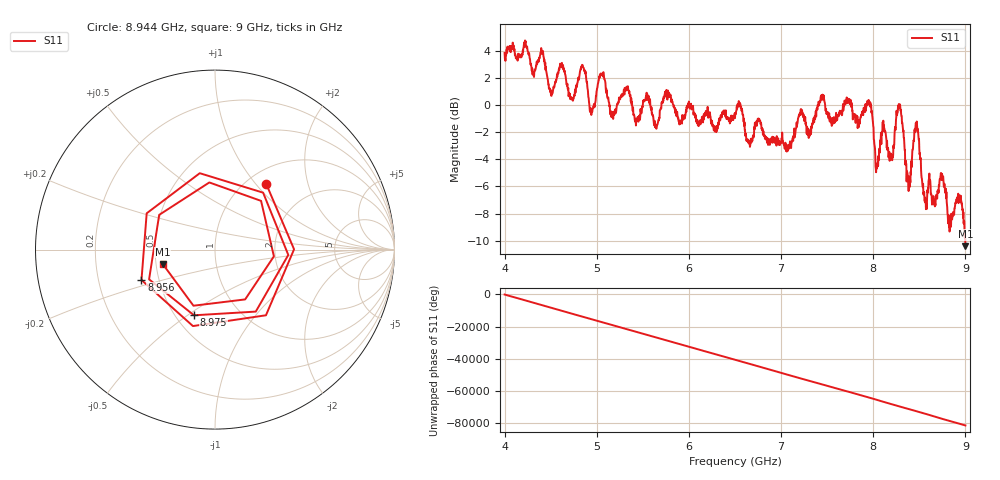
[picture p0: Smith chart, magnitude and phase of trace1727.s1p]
! Created with skrf 1.8.0 (http://scikit-rf.org).
# Hz S RI R 50.0
!freq ReS11 ImS11
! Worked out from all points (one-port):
!   1601 points, 4 GHz to 9 GHz, reference 50 ohm
!   lowest |S11| = -10.4 dB at 9 GHz (marker M1), VSWR 1.87, Z = 27.1 - j4.77 ohm
!   |S11| at or under -10 dB: 8.998678 GHz to end of sweep
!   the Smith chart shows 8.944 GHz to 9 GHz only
!   S11 on the Smith chart (normalised r, x): 8.944 GHz: 1.22, +1.13; 8.956 GHz: 0.40, -0.17; 8.975 GHz: 0.62, -0.53; 9 GHz: 0.54, -0.10
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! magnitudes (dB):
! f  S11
! 4 GHz  3.8
! 4.406 GHz  3.9
! 4.506 GHz  0.7
! 4.625 GHz  2.8
! 4.734 GHz  0.4
! 4.856 GHz  2.7
! 4.941 GHz  -0.7
! 5.05 GHz  2.2
! 5.162 GHz  -0.7
! 5.25 GHz  0.4
! 5.875 GHz  -0.7
! 6.5 GHz  -1.0
! 7.125 GHz  -2.4
! 7.441 GHz  0.6
! 7.75 GHz  0.2
! 7.962 GHz  0.2
! 8.047 GHz  -4.5
! 8.109 GHz  -1.2
! 8.203 GHz  -4.0
! 8.284 GHz  0.0
! 8.375 GHz  -5.4
! 8.469 GHz  -1.6
! 8.559 GHz  -7.1
! 8.838 GHz  -8.6
! 8.944 GHz  -6.7
! 8.956 GHz  -7.1
! 8.975 GHz  -8.3
! 9 GHz  -10.4
